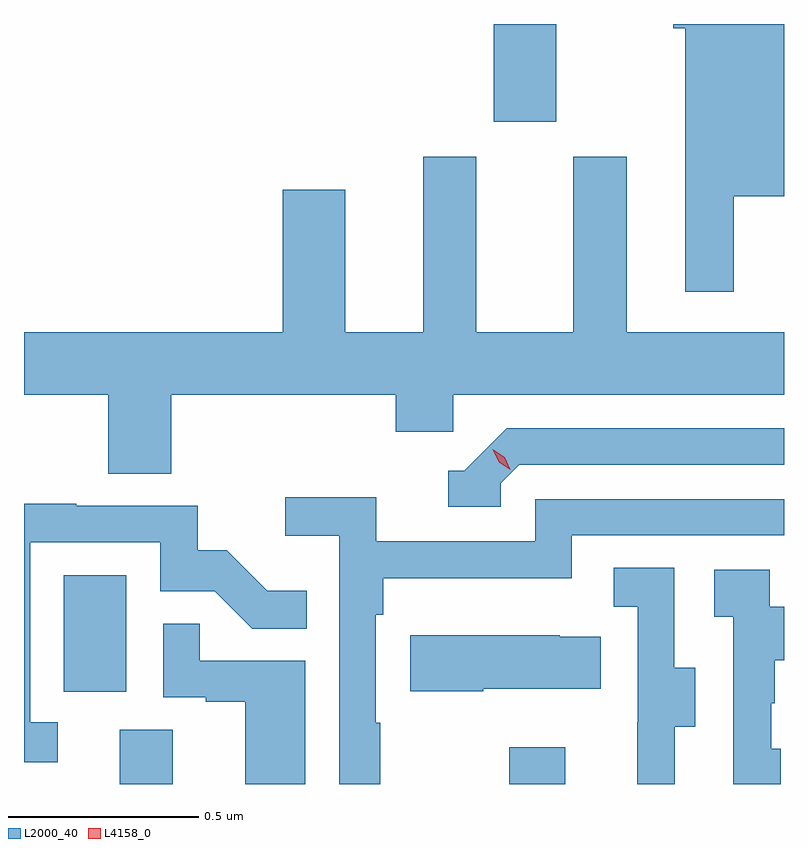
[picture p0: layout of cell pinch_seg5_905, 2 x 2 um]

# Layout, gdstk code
import gdstk
lib = gdstk.Library(unit=1e-6, precision=1e-09)
def R(c, l, rs):  # rectangles x0, y0, x1, y1
    for r in rs: c.add(gdstk.rectangle(r[:2], r[2:], *l))
def P(c, l, *ps):  # polygons
    for p in ps: c.add(gdstk.Polygon(p, *l))
L2000_40 = (2000, 40)
L4158_0 = (4158, 0)

pinch_seg5_905 = lib.new_cell('pinch_seg5_905')
R(pinch_seg5_905, L2000_40, [(859.883,886.371,860.023,886.514), (860.908,886.371,861.055,886.468), (859.736,886.614,859.9,886.921), (860.867,888.114,861.031,888.371)])
P(pinch_seg5_905, L2000_40, [(861.499,887.918),(861.631,887.918),(861.631,888.371),(861.34,888.371),(861.34,888.36),(861.371,888.36),(861.371,887.667),(861.499,887.667)],
  [(860.681,887.56),(860.476,887.56),(860.476,887.935),(860.312,887.935),(860.312,887.56),(859.631,887.56),(859.631,887.396),(859.853,887.396),(859.853,887.188),(860.018,887.188),(860.018,887.396),(860.609,887.396),(860.609,887.298),(860.76,887.298),(860.76,887.396),(861.631,887.396),(861.631,887.56),(861.217,887.56),(861.217,888.022),(861.077,888.022),(861.077,887.56),(860.821,887.56),(860.821,888.022),(860.681,888.022)],
  [(860.886,887.163),(860.934,887.211),(861.631,887.211),(861.631,887.307),(860.901,887.307),(860.79,887.196),(860.747,887.196),(860.747,887.1),(860.886,887.1)],
  [(860.569,886.532),(860.556,886.532),(860.556,886.817),(860.576,886.817),(860.576,886.913),(861.072,886.913),(861.072,887.025),(861.631,887.025),(861.631,887.121),(860.976,887.121),(860.976,887.01),(860.558,887.01),(860.558,887.126),(860.319,887.126),(860.319,887.024),(860.46,887.024),(860.46,886.371),(860.569,886.371)],
  [(859.72,886.533),(859.647,886.533),(859.647,887.007),(859.989,887.007),(859.989,886.878),(860.133,886.878),(860.231,886.78),(860.375,886.78),(860.375,886.879),(860.271,886.879),(860.164,886.986),(860.088,886.986),(860.088,887.103),(859.769,887.103),(859.769,887.108),(859.631,887.108),(859.631,886.428),(859.72,886.428)],
  [(861.343,886.522),(861.397,886.522),(861.397,886.677),(861.342,886.677),(861.342,886.94),(861.183,886.94),(861.183,886.837),(861.246,886.837),(861.246,886.533),(861.245,886.533),(861.245,886.371),(861.343,886.371)],
  [(861.622,886.464),(861.597,886.464),(861.597,886.583),(861.607,886.583),(861.607,886.697),(861.631,886.697),(861.631,886.837),(861.594,886.837),(861.594,886.935),(861.447,886.935),(861.447,886.811),(861.498,886.811),(861.498,886.371),(861.622,886.371)],
  [(860.371,886.695),(860.093,886.695),(860.093,886.793),(859.998,886.793),(859.998,886.599),(860.109,886.599),(860.109,886.587),(860.213,886.587),(860.213,886.371),(860.371,886.371)],
  [(860.839,886.622),(861.149,886.622),(861.149,886.759),(861.041,886.759),(861.041,886.762),(860.648,886.762),(860.648,886.615),(860.839,886.615)])
P(pinch_seg5_905, L4158_0, [(860.911,887.198),(860.881,887.218),(860.865,887.251),(860.865,887.252),(860.865,887.252),(860.896,887.231),(860.911,887.198),(860.911,887.198)])

lib.write_gds('pinch_seg5_905.gds')
